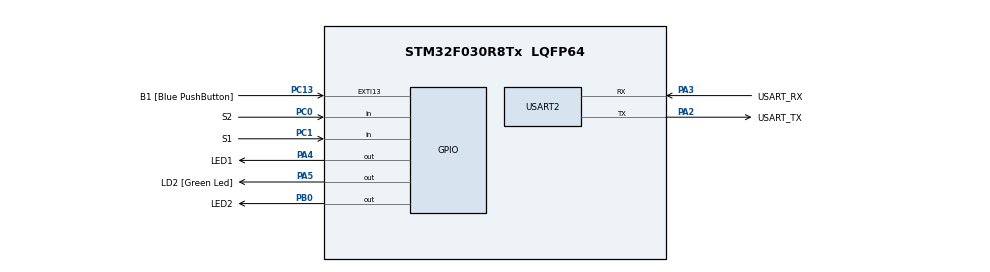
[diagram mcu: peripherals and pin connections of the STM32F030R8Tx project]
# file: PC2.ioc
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Mcu.Family=STM32F0
Mcu.Name=STM32F030R8Tx
Mcu.Package=LQFP64
PA13.GPIO_Label=TMS
PA13.Mode=Serial_Wire
PA13.Signal=SYS_SWDIO
PA14.GPIO_Label=TCK
PA14.Mode=Serial_Wire
PA14.Signal=SYS_SWCLK
PA2.GPIO_Label=USART_TX
PA2.GPIO_Mode=GPIO_MODE_AF_PP
PA2.GPIO_PuPd=GPIO_NOPULL
PA2.GPIO_Speed=GPIO_SPEED_FREQ_LOW
PA2.Mode=Asynchronous
PA2.Signal=USART2_TX
PA3.GPIO_Label=USART_RX
PA3.GPIO_Mode=GPIO_MODE_AF_PP
PA3.GPIO_PuPd=GPIO_NOPULL
PA3.GPIO_Speed=GPIO_SPEED_FREQ_LOW
PA3.Mode=Asynchronous
PA3.Signal=USART2_RX
PA4.GPIO_Label=LED1
PA4.Signal=GPIO_Output
PA5.GPIO_Label=LD2 [Green Led]
PA5.GPIO_Mode=GPIO_MODE_OUTPUT_PP
PA5.GPIO_PuPd=GPIO_NOPULL
PA5.GPIO_Speed=GPIO_SPEED_FREQ_LOW
PA5.Signal=GPIO_Output
PB0.GPIO_Label=LED2
PB0.Signal=GPIO_Output
PC0.GPIO_Label=S2
PC0.GPIO_PuPd=GPIO_PULLUP
PC0.Signal=GPIO_Input
PC1.GPIO_Label=S1
PC1.GPIO_PuPd=GPIO_PULLUP
PC1.Signal=GPIO_Input
PC13.GPIO_Label=B1 [Blue PushButton]
PC13.GPIO_ModeDefaultEXTI=GPIO_MODE_IT_FALLING
PC13.Signal=GPXTI13
PC14-OSC32_IN.Mode=LSE-External-Oscillator
PC14-OSC32_IN.Signal=RCC_OSC32_IN
PC15-OSC32_OUT.Mode=LSE-External-Oscillator
PC15-OSC32_OUT.Signal=RCC_OSC32_OUT
PF0-OSC_IN.Mode=HSE-External-Clock-Source
PF0-OSC_IN.Signal=RCC_OSC_IN
PF1-OSC_OUT.Signal=RCC_OSC_OUT
ProjectManager.HeapSize=0x200
ProjectManager.StackSize=0x400
ProjectManager.TargetToolchain=STM32CubeIDE
RCC.AHBFreq_Value=48000000
RCC.APB1Freq_Value=48000000
RCC.APB1TimFreq_Value=48000000
RCC.HCLKFreq_Value=48000000
RCC.PLLMUL=RCC_PLL_MUL12
RCC.SYSCLKFreq_VALUE=48000000
RCC.SYSCLKSource=RCC_SYSCLKSOURCE_PLLCLK
USART2.VirtualMode-Asynchronous=VM_ASYNC
board=NUCLEO-F030R8

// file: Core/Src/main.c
/* USER CODE BEGIN Header */
/**
 ******************************************************************************
 * @file           : main.c
 * @brief          : Main program body
 ******************************************************************************
 * @attention
 *
 * Copyright (c) 2025 STMicroelectronics.
 * All rights reserved.
 *
 * This software is licensed under terms that can be found in the LICENSE file
 * in the root directory of this software component.
 * If no LICENSE file comes with this software, it is provided AS-IS.
 *
 ******************************************************************************
 */
/* USER CODE END Header */
#include "main.h"

/* USER CODE BEGIN PD */
#define LED_TIME_BLINK 300
#define LED_TIME_SHORT 100
#define LED_TIME_LONG 1000

#define BUT_DEB_TIME_SIMPLE 40
#define BUT_DEB_TIME_ADV 5
/* USER CODE END PD */

/* USER CODE BEGIN PV */
volatile uint32_t Tick;
/* USER CODE END PV */

void SystemClock_Config(void);
static void MX_GPIO_Init(void);
static void MX_USART2_UART_Init(void);
/* USER CODE BEGIN PFP */
void blink(void);
void button(void);
void button_deb_simple(void);
void button_deb_adv(void);
/* USER CODE END PFP */

int main(void)
{

	/* MCU Configuration--------------------------------------------------------*/

	/* Reset of all peripherals, Initializes the Flash interface and the Systick. */
	LL_APB1_GRP2_EnableClock(LL_APB1_GRP2_PERIPH_SYSCFG);
	LL_APB1_GRP1_EnableClock(LL_APB1_GRP1_PERIPH_PWR);

	/* Configure the system clock */
	SystemClock_Config();

	/* Initialize all configured peripherals */
	MX_GPIO_Init();
	MX_USART2_UART_Init();
	/* USER CODE BEGIN 2 */
	LL_SYSTICK_EnableIT();

	/* USER CODE END 2 */

	/* Infinite loop */
	/* USER CODE BEGIN WHILE */
	while (1)
	{
		blink();
		button_deb_adv();
		/* USER CODE END WHILE */

	}
}

void SystemClock_Config(void)
{
	LL_FLASH_SetLatency(LL_FLASH_LATENCY_1);
	while(LL_FLASH_GetLatency() != LL_FLASH_LATENCY_1)
	{
	}
	LL_RCC_HSI_Enable();

	/* Wait till HSI is ready */
	while(LL_RCC_HSI_IsReady() != 1)
	{

	}
	LL_RCC_HSI_SetCalibTrimming(16);
	LL_RCC_PLL_ConfigDomain_SYS(LL_RCC_PLLSOURCE_HSI_DIV_2, LL_RCC_PLL_MUL_12);
	LL_RCC_PLL_Enable();

	/* Wait till PLL is ready */
	while(LL_RCC_PLL_IsReady() != 1)
	{

	}
	LL_RCC_SetAHBPrescaler(LL_RCC_SYSCLK_DIV_1);
	LL_RCC_SetAPB1Prescaler(LL_RCC_APB1_DIV_1);
	LL_RCC_SetSysClkSource(LL_RCC_SYS_CLKSOURCE_PLL);

	/* Wait till System clock is ready */
	while(LL_RCC_GetSysClkSource() != LL_RCC_SYS_CLKSOURCE_STATUS_PLL)
	{

	}
	LL_Init1msTick(48000000);
	LL_SetSystemCoreClock(48000000);
}

static void MX_USART2_UART_Init(void)
{

	LL_USART_InitTypeDef USART_InitStruct = {0};

	LL_GPIO_InitTypeDef GPIO_InitStruct = {0};

	/* Peripheral clock enable */
	LL_APB1_GRP1_EnableClock(LL_APB1_GRP1_PERIPH_USART2);

	LL_AHB1_GRP1_EnableClock(LL_AHB1_GRP1_PERIPH_GPIOA);
	/**USART2 GPIO Configuration
  PA2   ------> USART2_TX
  PA3   ------> USART2_RX
	 */
	GPIO_InitStruct.Pin = USART_TX_Pin;
	GPIO_InitStruct.Mode = LL_GPIO_MODE_ALTERNATE;
	GPIO_InitStruct.Speed = LL_GPIO_SPEED_FREQ_LOW;
	GPIO_InitStruct.OutputType = LL_GPIO_OUTPUT_PUSHPULL;
	GPIO_InitStruct.Pull = LL_GPIO_PULL_NO;
	GPIO_InitStruct.Alternate = LL_GPIO_AF_1;
	LL_GPIO_Init(USART_TX_GPIO_Port, &GPIO_InitStruct);

	GPIO_InitStruct.Pin = USART_RX_Pin;
	GPIO_InitStruct.Mode = LL_GPIO_MODE_ALTERNATE;
	GPIO_InitStruct.Speed = LL_GPIO_SPEED_FREQ_LOW;
	GPIO_InitStruct.OutputType = LL_GPIO_OUTPUT_PUSHPULL;
	GPIO_InitStruct.Pull = LL_GPIO_PULL_NO;
	GPIO_InitStruct.Alternate = LL_GPIO_AF_1;
	LL_GPIO_Init(USART_RX_GPIO_Port, &GPIO_InitStruct);

	USART_InitStruct.BaudRate = 38400;
	USART_InitStruct.DataWidth = LL_USART_DATAWIDTH_8B;
	USART_InitStruct.StopBits = LL_USART_STOPBITS_1;
	USART_InitStruct.Parity = LL_USART_PARITY_NONE;
	USART_InitStruct.TransferDirection = LL_USART_DIRECTION_TX_RX;
	USART_InitStruct.HardwareFlowControl = LL_USART_HWCONTROL_NONE;
	USART_InitStruct.OverSampling = LL_USART_OVERSAMPLING_16;
	LL_USART_Init(USART2, &USART_InitStruct);
	LL_USART_DisableIT_CTS(USART2);
	LL_USART_ConfigAsyncMode(USART2);
	LL_USART_Enable(USART2);

}

static void MX_GPIO_Init(void)
{
	LL_EXTI_InitTypeDef EXTI_InitStruct = {0};
	LL_GPIO_InitTypeDef GPIO_InitStruct = {0};

	/* GPIO Ports Clock Enable */
	LL_AHB1_GRP1_EnableClock(LL_AHB1_GRP1_PERIPH_GPIOC);
	LL_AHB1_GRP1_EnableClock(LL_AHB1_GRP1_PERIPH_GPIOF);
	LL_AHB1_GRP1_EnableClock(LL_AHB1_GRP1_PERIPH_GPIOA);
	LL_AHB1_GRP1_EnableClock(LL_AHB1_GRP1_PERIPH_GPIOB);

	/**/
	LL_GPIO_ResetOutputPin(LED1_GPIO_Port, LED1_Pin);

	/**/
	LL_GPIO_ResetOutputPin(LD2_GPIO_Port, LD2_Pin);

	/**/
	LL_GPIO_ResetOutputPin(LED2_GPIO_Port, LED2_Pin);

	/**/
	LL_SYSCFG_SetEXTISource(LL_SYSCFG_EXTI_PORTC, LL_SYSCFG_EXTI_LINE13);

	/**/
	LL_GPIO_SetPinPull(B1_GPIO_Port, B1_Pin, LL_GPIO_PULL_NO);

	/**/
	LL_GPIO_SetPinMode(B1_GPIO_Port, B1_Pin, LL_GPIO_MODE_INPUT);

	/**/
	EXTI_InitStruct.Line_0_31 = LL_EXTI_LINE_13;
	EXTI_InitStruct.LineCommand = ENABLE;
	EXTI_InitStruct.Mode = LL_EXTI_MODE_IT;
	EXTI_InitStruct.Trigger = LL_EXTI_TRIGGER_FALLING;
	LL_EXTI_Init(&EXTI_InitStruct);

	/**/
	GPIO_InitStruct.Pin = S2_Pin;
	GPIO_InitStruct.Mode = LL_GPIO_MODE_INPUT;
	GPIO_InitStruct.Pull = LL_GPIO_PULL_UP;
	LL_GPIO_Init(S2_GPIO_Port, &GPIO_InitStruct);

	/**/
	GPIO_InitStruct.Pin = S1_Pin;
	GPIO_InitStruct.Mode = LL_GPIO_MODE_INPUT;
	GPIO_InitStruct.Pull = LL_GPIO_PULL_UP;
	LL_GPIO_Init(S1_GPIO_Port, &GPIO_InitStruct);

	/**/
	GPIO_InitStruct.Pin = LED1_Pin;
	GPIO_InitStruct.Mode = LL_GPIO_MODE_OUTPUT;
	GPIO_InitStruct.Speed = LL_GPIO_SPEED_FREQ_LOW;
	GPIO_InitStruct.OutputType = LL_GPIO_OUTPUT_PUSHPULL;
	GPIO_InitStruct.Pull = LL_GPIO_PULL_NO;
	LL_GPIO_Init(LED1_GPIO_Port, &GPIO_InitStruct);

	/**/
	GPIO_InitStruct.Pin = LD2_Pin;
	GPIO_InitStruct.Mode = LL_GPIO_MODE_OUTPUT;
	GPIO_InitStruct.Speed = LL_GPIO_SPEED_FREQ_LOW;
	GPIO_InitStruct.OutputType = LL_GPIO_OUTPUT_PUSHPULL;
	GPIO_InitStruct.Pull = LL_GPIO_PULL_NO;
	LL_GPIO_Init(LD2_GPIO_Port, &GPIO_InitStruct);

	/**/
	GPIO_InitStruct.Pin = LED2_Pin;
	GPIO_InitStruct.Mode = LL_GPIO_MODE_OUTPUT;
	GPIO_InitStruct.Speed = LL_GPIO_SPEED_FREQ_LOW;
	GPIO_InitStruct.OutputType = LL_GPIO_OUTPUT_PUSHPULL;
	GPIO_InitStruct.Pull = LL_GPIO_PULL_NO;
	LL_GPIO_Init(LED2_GPIO_Port, &GPIO_InitStruct);

}

/* USER CODE BEGIN 4 */

void blink(void)
{
	static uint32_t delay;
	if (Tick > delay + LED_TIME_BLINK) {
		LL_GPIO_TogglePin(LED2_GPIO_Port, LED2_Pin);
		delay = Tick;
	}
}

void button_deb_simple(void)
{
	static uint32_t last_debounce_time;
	if(Tick > (last_debounce_time + BUT_DEB_TIME_SIMPLE))
	{
		button();
		last_debounce_time = Tick;
	}
}

void button_deb_adv(void)
{
	static uint32_t last_debounce_time;
	static uint32_t off_time;

	if(Tick > (last_debounce_time + BUT_DEB_TIME_ADV))
	{
		static uint16_t S1_deb, S2_deb;
		S1_deb <<= 1;
		S2_deb <<= 1;

		if(LL_GPIO_IsInputPinSet(S1_GPIO_Port, S1_Pin))
		{
			S1_deb |= 0x001;
		}

		if(LL_GPIO_IsInputPinSet(S2_GPIO_Port, S2_Pin))
		{
			S2_deb |= 0x001;
		}

		if(S1_deb == 0x7FFF)
		{
			off_time = Tick + LED_TIME_LONG;
			LL_GPIO_SetOutputPin(LED1_GPIO_Port, LED1_Pin);
		}
		if(S2_deb == 0x7FFF)
		{
			off_time = Tick + LED_TIME_SHORT;
			LL_GPIO_SetOutputPin(LED1_GPIO_Port, LED1_Pin);
		}

		last_debounce_time = Tick;

	}

	if (Tick > off_time)
	{
		LL_GPIO_ResetOutputPin(LED1_GPIO_Port, LED1_Pin);
	}
}

void button(void)
{
	static uint32_t old_s1;
	static uint32_t old_s2;
	static uint32_t off_time;

	uint32_t new_s2 = LL_GPIO_IsInputPinSet(S2_GPIO_Port, S2_Pin);
	if (old_s2 && !new_s2)
	{ // falling edge
		off_time = Tick + LED_TIME_SHORT;
		LL_GPIO_SetOutputPin(LED1_GPIO_Port, LED1_Pin);
	}
	old_s2 = new_s2;

	uint32_t new_s1 = LL_GPIO_IsInputPinSet(S1_GPIO_Port, S1_Pin);
	if (old_s1 && !new_s1)
	{ // falling edge
		off_time = Tick + LED_TIME_LONG;
		LL_GPIO_SetOutputPin(LED1_GPIO_Port, LED1_Pin);
	}
	old_s1 = new_s1;

	if (Tick > off_time)
	{
		LL_GPIO_ResetOutputPin(LED1_GPIO_Port, LED1_Pin);
	}
}

/* USER CODE END 4 */

void Error_Handler(void)
{
	__disable_irq();
	while (1)
	{
	}
}
